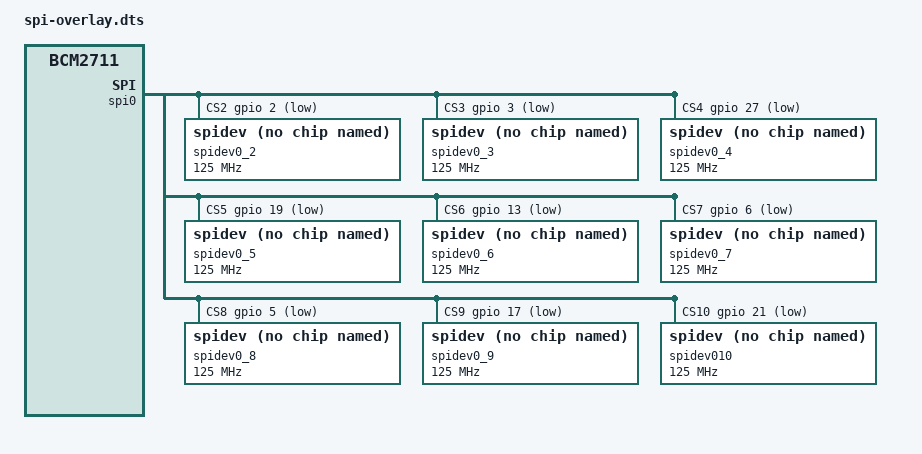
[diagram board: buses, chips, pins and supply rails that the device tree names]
/dts-v1/;
/plugin/;


/ {
	compatible = "brcm,bcm2835", "brcm,bcm2708", "brcm,bcm2709", "brcm,bcm2711";

	fragment@0 {
		target = <&spi0_cs_pins>;
		frag0: __overlay__ {
			brcm,pins = <8 7 2 3 27 19 13 6 5 17 21>;
		};
	};

	fragment@1 {
		target = <&spi0>;
		frag1: __overlay__ {
			#address-cells = <1>;
			#size-cells = <0>;

			cs-gpios = <&gpio 8 1>, <&gpio 7 1>, <&gpio 2 1>, <&gpio 3 1>, <&gpio 27 1>, <&gpio 19 1>, <&gpio 13 1>, <&gpio 6 1>, <&gpio 5 1>, <&gpio 17 1>, <&gpio 21 1>;
			status = "okay";

			  spidev0_2: spidev@2 {
				compatible = "spidev";
                
				reg = <2>;	
				#address-cells = <1>;
				#size-cells = <0>;
				spi-max-frequency = <125000000>;
			};
                        
        spidev0_3: spidev@3 {
				compatible = "spidev";
                
				reg = <3>;	
				#address-cells = <1>;
				#size-cells = <0>;
				spi-max-frequency = <125000000>;
			};
      
			  spidev0_4: spidev@4 {
				compatible = "spidev";
                
				reg = <4>;	
				#address-cells = <1>;
				#size-cells = <0>;
				spi-max-frequency = <125000000>;
			};
                        
        spidev0_5: spidev@5 {
				compatible = "spidev";
                
				reg = <5>;	
				#address-cells = <1>;
				#size-cells = <0>;
				spi-max-frequency = <125000000>;
			};
      
			  spidev0_6: spidev@6 {
				compatible = "spidev";
                
				reg = <6>;	
				#address-cells = <1>;
				#size-cells = <0>;
				spi-max-frequency = <125000000>;
			};
                        
        spidev0_7: spidev@7 {
				compatible = "spidev";
                
				reg = <7>;	
				#address-cells = <1>;
				#size-cells = <0>;
				spi-max-frequency = <125000000>;
			};
        spidev0_8: spidev@8 {
				compatible = "spidev";
                
				reg = <8>;	
				#address-cells = <1>;
				#size-cells = <0>;
				spi-max-frequency = <125000000>;
			};
      
			  spidev0_9: spidev@9 {
				compatible = "spidev";
                
				reg = <9>;	
				#address-cells = <1>;
				#size-cells = <0>;
				spi-max-frequency = <125000000>;
			};
      
			  spidev010: spidev@10 {
				compatible = "spidev";
                
				reg = <10>;	
				#address-cells = <1>;
				#size-cells = <0>;
				spi-max-frequency = <125000000>;
			};
                                  
		};
	};
	__overrides__ {
		cs0_pin  = <&frag0>,"brcm,pins:0",
			   <&frag1>,"cs-gpios:4";
		cs1_pin  = <&frag0>,"brcm,pins:4",
			   <&frag1>,"cs-gpios:16";
		cs2_pin  = <&frag0>,"brcm,pins:8",
			   <&frag1>,"cs-gpios:26";
		cs2_spidev = <&spidev0_2>, "status";
	};

};
